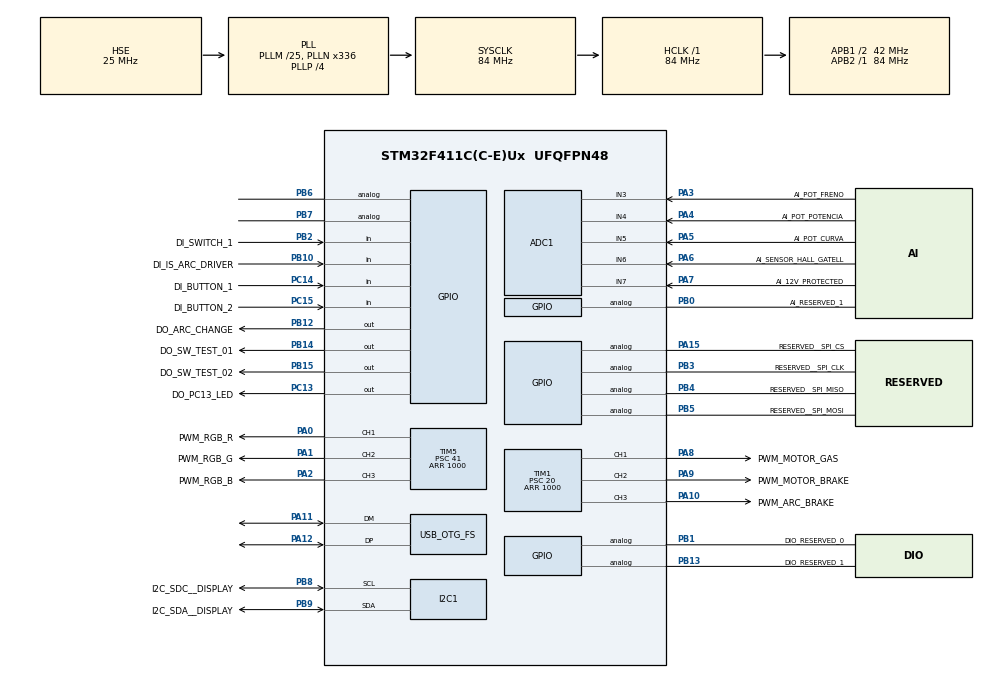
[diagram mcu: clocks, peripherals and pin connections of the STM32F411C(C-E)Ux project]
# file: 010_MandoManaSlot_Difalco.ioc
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ADC1.Channel-0\#ChannelRegularConversion=ADC_CHANNEL_6
ADC1.Channel-1\#ChannelRegularConversion=ADC_CHANNEL_3
ADC1.Channel-2\#ChannelRegularConversion=ADC_CHANNEL_4
ADC1.Channel-3\#ChannelRegularConversion=ADC_CHANNEL_5
ADC1.Channel-4\#ChannelRegularConversion=ADC_CHANNEL_7
ADC1.Channel-5\#ChannelRegularConversion=ADC_CHANNEL_VREFINT
ADC1.ClockPrescaler=ADC_CLOCK_SYNC_PCLK_DIV4
ADC1.ContinuousConvMode=DISABLE
ADC1.EOCSelection=ADC_EOC_SEQ_CONV
ADC1.NbrOfConversion=6
ADC1.NbrOfConversionFlag=1
ADC1.Rank-0\#ChannelRegularConversion=1
ADC1.Rank-1\#ChannelRegularConversion=2
ADC1.Rank-2\#ChannelRegularConversion=3
ADC1.Rank-3\#ChannelRegularConversion=4
ADC1.Rank-4\#ChannelRegularConversion=5
ADC1.Rank-5\#ChannelRegularConversion=6
ADC1.SamplingTime-0\#ChannelRegularConversion=ADC_SAMPLETIME_480CYCLES
ADC1.SamplingTime-1\#ChannelRegularConversion=ADC_SAMPLETIME_480CYCLES
ADC1.SamplingTime-2\#ChannelRegularConversion=ADC_SAMPLETIME_480CYCLES
ADC1.SamplingTime-3\#ChannelRegularConversion=ADC_SAMPLETIME_480CYCLES
ADC1.SamplingTime-4\#ChannelRegularConversion=ADC_SAMPLETIME_480CYCLES
ADC1.SamplingTime-5\#ChannelRegularConversion=ADC_SAMPLETIME_480CYCLES
ADC1.master=1
Dma.ADC1.0.Direction=DMA_PERIPH_TO_MEMORY
Dma.ADC1.0.FIFOMode=DMA_FIFOMODE_DISABLE
Dma.ADC1.0.Instance=DMA2_Stream0
Dma.ADC1.0.MemDataAlignment=DMA_MDATAALIGN_WORD
Dma.ADC1.0.MemInc=DMA_MINC_ENABLE
Dma.ADC1.0.Mode=DMA_CIRCULAR
Dma.ADC1.0.PeriphDataAlignment=DMA_PDATAALIGN_WORD
Dma.ADC1.0.PeriphInc=DMA_PINC_DISABLE
Dma.ADC1.0.Priority=DMA_PRIORITY_LOW
Dma.I2C1_RX.2.Direction=DMA_PERIPH_TO_MEMORY
Dma.I2C1_RX.2.FIFOMode=DMA_FIFOMODE_DISABLE
Dma.I2C1_RX.2.Instance=DMA1_Stream0
Dma.I2C1_RX.2.MemDataAlignment=DMA_MDATAALIGN_BYTE
Dma.I2C1_RX.2.MemInc=DMA_MINC_ENABLE
Dma.I2C1_RX.2.Mode=DMA_NORMAL
Dma.I2C1_RX.2.PeriphDataAlignment=DMA_PDATAALIGN_BYTE
Dma.I2C1_RX.2.PeriphInc=DMA_PINC_DISABLE
Dma.I2C1_RX.2.Priority=DMA_PRIORITY_LOW
Dma.I2C1_TX.1.Direction=DMA_MEMORY_TO_PERIPH
Dma.I2C1_TX.1.FIFOMode=DMA_FIFOMODE_DISABLE
Dma.I2C1_TX.1.Instance=DMA1_Stream7
Dma.I2C1_TX.1.MemDataAlignment=DMA_MDATAALIGN_BYTE
Dma.I2C1_TX.1.MemInc=DMA_MINC_ENABLE
Dma.I2C1_TX.1.Mode=DMA_NORMAL
Dma.I2C1_TX.1.PeriphDataAlignment=DMA_PDATAALIGN_BYTE
Dma.I2C1_TX.1.PeriphInc=DMA_PINC_DISABLE
Dma.I2C1_TX.1.Priority=DMA_PRIORITY_LOW
Dma.Request0=ADC1
Dma.Request1=I2C1_TX
Dma.Request2=I2C1_RX
FREERTOS.INCLUDE_eTaskGetState=1
FREERTOS.INCLUDE_uxTaskGetStackHighWaterMark=1
FREERTOS.INCLUDE_uxTaskGetStackHighWaterMark2=0
FREERTOS.INCLUDE_uxTaskPriorityGet=0
FREERTOS.INCLUDE_vTaskDelay=1
FREERTOS.INCLUDE_vTaskDelayUntil=1
FREERTOS.INCLUDE_vTaskDelete=0
FREERTOS.INCLUDE_vTaskPrioritySet=0
FREERTOS.INCLUDE_vTaskSuspend=0
FREERTOS.INCLUDE_xTaskGetCurrentTaskHandle=1
FREERTOS.INCLUDE_xTaskGetHandle=1
FREERTOS.INCLUDE_xTaskGetSchedulerState=1
FREERTOS.INCLUDE_xTimerPendFunctionCall=1
FREERTOS.Queues01=PotenciaParamF,1,float,0,Dynamic,NULL,NULL;CorbaParamF,1,float,0,Dynamic,NULL,NULL;FrenoAdc,1,uint16_t,0,Dynamic,NULL,NULL;PotenciaAdc,3,uint16_t,0,Dynamic,NULL,NULL;CorbaAdc,3,uint16_t,0,Dynamic,NULL,NULL;GatellAdc,1,uint16_t,0,Dynamic,NULL,NULL;PotenciaAdcFiltrat,1,uint16_t,0,Dynamic,NULL,NULL;CorbaAdcFiltrat,1,uint16_t,0,Dynamic,NULL,NULL;MapaFreno,1,uint32_t,0,Dynamic,NULL,NULL;PotenciaDin,1,uint32_t,0,Dynamic,NULL,NULL;MensajePantalla,1,uint32_t,0,Dynamic,NULL,NULL;PosFrenoFlash,1,uint32_t,0,Dynamic,NULL,NULL;ValorInicial1Flash,1,uint32_t,0,Dynamic,NULL,NULL;ValorFinal1Flash,1,uint32_t,0,Dynamic,NULL,NULL;PosFondoFlash,1,uint32_t,0,Dynamic,NULL,NULL;DiffGatellFlash,1,uint32_t,0,Dynamic,NULL,NULL;ExtraPWMFlash,1,uint32_t,0,Dynamic,NULL,NULL;MapaFrenoPantalla,1,uint32_t,0,Dynamic,NULL,NULL;PotenciaDinPantalla,1,uint32_t,0,Dynamic,NULL,NULL;ValorInicial2Flash,1,uint32_t,0,Dynamic,NULL,NULL;ValorFinal2Flash,1,uint32_t,0,Dynamic,NULL,NULL;ValorInicial1Pantalla,1,uint32_t,0,Dynamic,NULL,NULL;ValorFinal1Pantalla,1,uint32_t,0,Dynamic,NULL,NULL;ValorInicial2Pantalla,1,uint32_t,0,Dynamic,NULL,NULL;ValorFinal2Pantalla,1,uint32_t,0,Dynamic,NULL,NULL;PosFrenoMapa2Flash,1,uint32_t,0,Dynamic,NULL,NULL;VoltatgeAdc,1,uint32_t,0,Dynamic,NULL,NULL;VoltatgeAdcFiltrat,16,uint16_t,0,Dynamic,NULL,NULL
FREERTOS.Tasks01=MesurarAdc,-2,512,TaskMesurarAdc,Default,NULL,Dynamic,NULL,NULL;Pantalla,1,512,TaskPantalla,Default,NULL,Dynamic,NULL,NULL;Params,0,512,TaskParams,Default,NULL,Dynamic,NULL,NULL;FreeRtosMonitor,2,512,TaskFreeRtosMonitor,Default,NULL,Dynamic,NULL,NULL;Flash,0,512,TaskFlash,Default,NULL,Dynamic,NULL,NULL
FREERTOS.configCHECK_FOR_STACK_OVERFLOW=2
FREERTOS.configENABLE_FPU=1
FREERTOS.configGENERATE_RUN_TIME_STATS=1
FREERTOS.configMINIMAL_STACK_SIZE=512
FREERTOS.configTOTAL_HEAP_SIZE=15360
FREERTOS.configUSE_NEWLIB_REENTRANT=1
FREERTOS.configUSE_STATS_FORMATTING_FUNCTIONS=1
FREERTOS.configUSE_TIMERS=1
FREERTOS.configUSE_TRACE_FACILITY=1
I2C1.I2C_Mode=I2C_Fast
I2C1.NoStretchMode=I2C_NOSTRETCH_DISABLE
Mcu.Family=STM32F4
Mcu.Name=STM32F411C(C-E)Ux
Mcu.Package=UFQFPN48
NVIC.DMA1_Stream0_IRQn=true\:5\:0\:false\:false\:true\:true\:false\:true\:true
NVIC.DMA1_Stream7_IRQn=true\:5\:0\:false\:false\:true\:true\:false\:true\:true
NVIC.DMA2_Stream0_IRQn=true\:5\:0\:false\:false\:true\:true\:false\:true\:true
NVIC.I2C1_ER_IRQn=true\:5\:0\:false\:false\:true\:true\:true\:true\:true
NVIC.I2C1_EV_IRQn=true\:5\:0\:false\:false\:true\:true\:true\:true\:true
NVIC.OTG_FS_IRQn=true\:5\:0\:false\:false\:true\:true\:false\:true\:true
NVIC.PriorityGroup=NVIC_PRIORITYGROUP_4
PA0-WKUP.GPIO_Label=PWM_RGB_R
PA0-WKUP.GPIO_PuPd=GPIO_PULLDOWN
PA0-WKUP.Signal=S_TIM5_CH1
PA1.GPIO_Label=PWM_RGB_G
PA1.GPIO_PuPd=GPIO_PULLDOWN
PA1.Signal=S_TIM5_CH2
PA10.GPIO_Label=PWM_ARC_BRAKE
PA10.GPIO_PuPd=GPIO_PULLDOWN
PA10.Signal=S_TIM1_CH3
PA11.Mode=Device_Only
PA11.Signal=USB_OTG_FS_DM
PA12.Mode=Device_Only
PA12.Signal=USB_OTG_FS_DP
PA13.Mode=Serial_Wire
PA13.Signal=SYS_JTMS-SWDIO
PA14.Mode=Serial_Wire
PA14.Signal=SYS_JTCK-SWCLK
PA15.GPIO_Label=RESERVED__SPI_CS
PA15.Signal=GPIO_Analog
PA2.GPIO_Label=PWM_RGB_B
PA2.GPIO_PuPd=GPIO_PULLDOWN
PA2.Signal=S_TIM5_CH3
PA3.GPIO_Label=AI_POT_FRENO
PA3.Signal=ADCx_IN3
PA4.GPIO_Label=AI_POT_POTENCIA
PA4.Signal=ADCx_IN4
PA5.GPIO_Label=AI_POT_CURVA
PA5.Signal=ADCx_IN5
PA6.GPIO_Label=AI_SENSOR_HALL_GATELL
PA6.Signal=ADCx_IN6
PA7.GPIO_Label=AI_12V_PROTECTED
PA7.Signal=ADCx_IN7
PA8.GPIO_Label=PWM_MOTOR_GAS
PA8.GPIO_PuPd=GPIO_PULLDOWN
PA8.Signal=S_TIM1_CH1
PA9.GPIO_Label=PWM_MOTOR_BRAKE
PA9.GPIO_PuPd=GPIO_PULLDOWN
PA9.Signal=S_TIM1_CH2
PB0.GPIO_Label=AI_RESERVED_1
PB0.Signal=GPIO_Analog
PB1.GPIO_Label=DIO_RESERVED_0
PB1.Signal=GPIO_Analog
PB10.GPIO_Label=DI_IS_ARC_DRIVER
PB10.GPIO_PuPd=GPIO_PULLDOWN
PB10.Signal=GPIO_Input
PB12.GPIO_Label=DO_ARC_CHANGE
PB12.GPIO_PuPd=GPIO_PULLDOWN
PB12.Signal=GPIO_Output
PB13.GPIO_Label=DIO_RESERVED_1
PB13.Signal=GPIO_Analog
PB14.GPIO_Label=DO_SW_TEST_01
PB14.GPIO_PuPd=GPIO_PULLDOWN
PB14.Signal=GPIO_Output
PB15.GPIO_Label=DO_SW_TEST_02
PB15.GPIO_PuPd=GPIO_PULLDOWN
PB15.Signal=GPIO_Output
PB2.GPIO_Label=DI_SWITCH_1
PB2.GPIO_PuPd=GPIO_PULLUP
PB2.Signal=GPIO_Input
PB3.GPIO_Label=RESERVED__SPI_CLK
PB3.Signal=GPIO_Analog
PB4.GPIO_Label=RESERVED__SPI_MISO
PB4.Signal=GPIO_Analog
PB5.GPIO_Label=RESERVED__SPI_MOSI
PB5.Signal=GPIO_Analog
PB6.Signal=GPIO_Analog
PB7.Signal=GPIO_Analog
PB8.GPIO_Label=I2C_SDC__DISPLAY
PB8.Mode=I2C
PB8.Signal=I2C1_SCL
PB9.GPIO_Label=I2C_SDA__DISPLAY
PB9.Mode=I2C
PB9.Signal=I2C1_SDA
PC13-ANTI_TAMP.GPIO_Label=DO_PC13_LED
PC13-ANTI_TAMP.GPIO_PuPd=GPIO_PULLDOWN
PC13-ANTI_TAMP.Signal=GPIO_Output
PC14-OSC32_IN.GPIO_Label=DI_BUTTON_1
PC14-OSC32_IN.GPIO_PuPd=GPIO_PULLUP
PC14-OSC32_IN.Signal=GPIO_Input
PC15-OSC32_OUT.GPIO_Label=DI_BUTTON_2
PC15-OSC32_OUT.GPIO_PuPd=GPIO_PULLUP
PC15-OSC32_OUT.Signal=GPIO_Input
PH0\ -\ OSC_IN.Mode=HSE-External-Oscillator
PH0\ -\ OSC_IN.Signal=RCC_OSC_IN
PH1\ -\ OSC_OUT.Mode=HSE-External-Oscillator
PH1\ -\ OSC_OUT.Signal=RCC_OSC_OUT
ProjectManager.HeapSize=0x200
ProjectManager.StackSize=0x400
ProjectManager.TargetToolchain=STM32CubeIDE
RCC.48MHZClocksFreq_Value=48000000
RCC.AHBFreq_Value=84000000
RCC.APB1CLKDivider=RCC_HCLK_DIV2
RCC.APB1Freq_Value=42000000
RCC.APB1TimFreq_Value=84000000
RCC.APB2Freq_Value=84000000
RCC.APB2TimFreq_Value=84000000
RCC.CortexFreq_Value=84000000
RCC.EnbaleCSS=true
RCC.HCLKFreq_Value=84000000
RCC.HSE_Timout=250
RCC.HSE_VALUE=25000000
RCC.HSI_VALUE=16000000
RCC.LSE_VALUE=32768
RCC.PLLM=25
RCC.PLLN=336
RCC.PLLP=RCC_PLLP_DIV4
RCC.PLLQ=7
RCC.PWR_Regulator_Voltage_Scale=PWR_REGULATOR_VOLTAGE_SCALE1
RCC.SYSCLKFreq_VALUE=84000000
RCC.SYSCLKSource=RCC_SYSCLKSOURCE_PLLCLK
RCC.VCOOutputFreq_Value=336000000
SH.ADCx_IN3.0=ADC1_IN3,IN3
SH.ADCx_IN4.0=ADC1_IN4,IN4
SH.ADCx_IN5.0=ADC1_IN5,IN5
SH.ADCx_IN6.0=ADC1_IN6,IN6
SH.ADCx_IN7.0=ADC1_IN7,IN7
SH.S_TIM1_CH1.0=TIM1_CH1,PWM Generation1 CH1
SH.S_TIM1_CH2.0=TIM1_CH2,PWM Generation2 CH2
SH.S_TIM1_CH3.0=TIM1_CH3,PWM Generation3 CH3
SH.S_TIM5_CH1.0=TIM5_CH1,PWM Generation1 CH1
SH.S_TIM5_CH2.0=TIM5_CH2,PWM Generation2 CH2
SH.S_TIM5_CH3.0=TIM5_CH3,PWM Generation3 CH3
TIM1.AutoReloadPreload=TIM_AUTORELOAD_PRELOAD_ENABLE
TIM1.Channel-PWM\ Generation1\ CH1=TIM_CHANNEL_1
TIM1.Channel-PWM\ Generation2\ CH2=TIM_CHANNEL_2
TIM1.Channel-PWM\ Generation3\ CH3=TIM_CHANNEL_3
TIM1.Period=1000
TIM1.Prescaler=20
TIM1.TIM_MasterOutputTrigger=TIM_TRGO_RESET
TIM5.AutoReloadPreload=TIM_AUTORELOAD_PRELOAD_ENABLE
TIM5.Channel-PWM\ Generation1\ CH1=TIM_CHANNEL_1
TIM5.Channel-PWM\ Generation2\ CH2=TIM_CHANNEL_2
TIM5.Channel-PWM\ Generation3\ CH3=TIM_CHANNEL_3
TIM5.Period=1000
TIM5.Prescaler=41
TIM5.TIM_MasterOutputTrigger=TIM_TRGO_RESET
TIM5.TIM_MasterSlaveMode=TIM_MASTERSLAVEMODE_DISABLE
USB_DEVICE.APP_RX_DATA_SIZE=1024
USB_DEVICE.APP_TX_DATA_SIZE=1024
USB_DEVICE.CLASS_NAME_FS=CDC
USB_DEVICE.CONFIGURATION_STRING_CDC_FS=Mana Slot Config
USB_DEVICE.INTERFACE_STRING_CDC_FS=Mana Slot Interface
USB_DEVICE.MANUFACTURER_STRING=Mana Slot Electronics
USB_DEVICE.PRODUCT_STRING_CDC_FS=Mana Slot Mando
USB_DEVICE.VirtualMode=Cdc
USB_DEVICE.VirtualModeFS=Cdc_FS
USB_OTG_FS.VirtualMode=Device_Only
VP_ADC1_Vref_Input.Mode=IN-Vrefint
VP_FREERTOS_VS_CMSIS_V1.Mode=CMSIS_V1
VP_TIM1_VS_ClockSourceINT.Mode=Internal
VP_USB_DEVICE_VS_USB_DEVICE_CDC_FS.Mode=CDC_FS
board=custom

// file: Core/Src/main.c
/* USER CODE BEGIN Header */
/**
  ******************************************************************************
  * @file           : main.c
  * @brief          : Main program body
  ******************************************************************************
  * @attention
  *
  * Copyright (c) 2025 STMicroelectronics.
  * All rights reserved.
  *
  * This software is licensed under terms that can be found in the LICENSE file
  * in the root directory of this software component.
  * If no LICENSE file comes with this software, it is provided AS-IS.
  *
  ******************************************************************************
  */
/* USER CODE END Header */
#include "main.h"
#include "cmsis_os.h"
#include "usb_device.h"

/* USER CODE BEGIN Includes */
    #include "mcalm_api.h"
    #include "ecualm_api.h"
    #include "ver_api.h"
    //
    #include "TaskFreeRtosMonitor_api.h"
    #include "TaskParams_api.h"
    #include "TaskMesurarAdc_api.h"
    #include "TaskPantalla_api.h"
    #include "TaskFlash_api.h"
    #include "FLASH_SECTOR_F4.h"
    #include "rtwtypes.h"

/* USER CODE END Includes */

ADC_HandleTypeDef hadc1;
DMA_HandleTypeDef hdma_adc1;

I2C_HandleTypeDef hi2c1;
DMA_HandleTypeDef hdma_i2c1_tx;
DMA_HandleTypeDef hdma_i2c1_rx;

TIM_HandleTypeDef htim1;
TIM_HandleTypeDef htim5;

osThreadId MesurarAdcHandle;
osThreadId PantallaHandle;
osThreadId ParamsHandle;
osThreadId FreeRtosMonitorHandle;
osThreadId FlashHandle;
osMessageQId PotenciaParamFHandle;
osMessageQId CorbaParamFHandle;
osMessageQId FrenoAdcHandle;
osMessageQId PotenciaAdcHandle;
osMessageQId CorbaAdcHandle;
osMessageQId GatellAdcHandle;
osMessageQId PotenciaAdcFiltratHandle;
osMessageQId CorbaAdcFiltratHandle;
osMessageQId MapaFrenoHandle;
osMessageQId PotenciaDinHandle;
osMessageQId MensajePantallaHandle;
osMessageQId PosFrenoFlashHandle;
osMessageQId ValorInicial1FlashHandle;
osMessageQId ValorFinal1FlashHandle;
osMessageQId PosFondoFlashHandle;
osMessageQId DiffGatellFlashHandle;
osMessageQId ExtraPWMFlashHandle;
osMessageQId MapaFrenoPantallaHandle;
osMessageQId PotenciaDinPantallaHandle;
osMessageQId ValorInicial2FlashHandle;
osMessageQId ValorFinal2FlashHandle;
osMessageQId ValorInicial1PantallaHandle;
osMessageQId ValorFinal1PantallaHandle;
osMessageQId ValorInicial2PantallaHandle;
osMessageQId ValorFinal2PantallaHandle;
osMessageQId PosFrenoMapa2FlashHandle;
osMessageQId VoltatgeAdcHandle;
osMessageQId VoltatgeAdcFiltratHandle;

void SystemClock_Config(void);
static void MX_GPIO_Init(void);
static void MX_DMA_Init(void);
static void MX_ADC1_Init(void);
static void MX_I2C1_Init(void);
static void MX_TIM1_Init(void);
static void MX_TIM5_Init(void);
void TaskMesurarAdc(void const * argument);
void TaskPantalla(void const * argument);
void TaskParams(void const * argument);
void TaskFreeRtosMonitor(void const * argument);
void TaskFlash(void const * argument);

int main(void)
{

  /* MCU Configuration--------------------------------------------------------*/

  /* Reset of all peripherals, Initializes the Flash interface and the Systick. */
  HAL_Init();

  /* USER CODE BEGIN Init */
  // IMPORTANT: A small Delay must be used for the HSE Clock stabilization before the SystemClock_Config().
  //            Otherwise, the HSE won't be ok and the MCU will freeze in a Cold Start-Up. At IDE v1.19.0 ST changed the internal function order of SystemClock_Config and now the issue is easier to see.
  HAL_Delay( mcalm_DELAY_ms_BEFORE_START_HSE );
  /* USER CODE END Init */

  /* Configure the system clock */
  SystemClock_Config();

  /* USER CODE BEGIN SysInit */
  // 1.1) Start-up Level 1  (first Init of MCAL)
  MCALM_PeripheralsInit();
  /* USER CODE END SysInit */

  /* Initialize all configured peripherals */
  MX_GPIO_Init();
  MX_DMA_Init();
  MX_ADC1_Init();
  MX_I2C1_Init();
  MX_TIM1_Init();
  MX_TIM5_Init();
  /* USER CODE BEGIN 2 */

  // 1.2) Start-up Level 2  (first Init of ECUAL+VER)
  ECUALM_Init();
  VER_Init();

  // 1.3) Start-up Level 3  (first Init of APP)
  /* Inicialitzar Monitor Stack FreeRtos */
  TASKFREERTOSMONITOR_Init();
  /* Carregar valors de la flash */
  TASKFLASH_Init();
  /* Inicialitzar parametres per representar la corba */
  TASKPARAMS_Init();
  /* Inicialitzar la tasca de la pantalla */
  TASKPANTALLA_Init();
  /* Despres cargar-los al model */
  TASKMESURAR_Init();

  // 1.4) Start-up Level 4  (PostInit of MCAL+ECUAL)
  /*I2CM_PostInit(); */  // Done at TaskPantalla.c

  /* USER CODE END 2 */

  /* Create the queue(s) */
  /* definition and creation of PotenciaParamF */
  osMessageQDef(PotenciaParamF, 1, float);
  PotenciaParamFHandle = osMessageCreate(osMessageQ(PotenciaParamF), NULL);

  /* definition and creation of CorbaParamF */
  osMessageQDef(CorbaParamF, 1, float);
  CorbaParamFHandle = osMessageCreate(osMessageQ(CorbaParamF), NULL);

  /* definition and creation of FrenoAdc */
  osMessageQDef(FrenoAdc, 1, uint16_t);
  FrenoAdcHandle = osMessageCreate(osMessageQ(FrenoAdc), NULL);

  /* definition and creation of PotenciaAdc */
  osMessageQDef(PotenciaAdc, 3, uint16_t);
  PotenciaAdcHandle = osMessageCreate(osMessageQ(PotenciaAdc), NULL);

  /* definition and creation of CorbaAdc */
  osMessageQDef(CorbaAdc, 3, uint16_t);
  CorbaAdcHandle = osMessageCreate(osMessageQ(CorbaAdc), NULL);

  /* definition and creation of GatellAdc */
  osMessageQDef(GatellAdc, 1, uint16_t);
  GatellAdcHandle = osMessageCreate(osMessageQ(GatellAdc), NULL);

  /* definition and creation of PotenciaAdcFiltrat */
  osMessageQDef(PotenciaAdcFiltrat, 1, uint16_t);
  PotenciaAdcFiltratHandle = osMessageCreate(osMessageQ(PotenciaAdcFiltrat), NULL);

  /* definition and creation of CorbaAdcFiltrat */
  osMessageQDef(CorbaAdcFiltrat, 1, uint16_t);
  CorbaAdcFiltratHandle = osMessageCreate(osMessageQ(CorbaAdcFiltrat), NULL);

  /* definition and creation of MapaFreno */
  osMessageQDef(MapaFreno, 1, uint32_t);
  MapaFrenoHandle = osMessageCreate(osMessageQ(MapaFreno), NULL);

  /* definition and creation of PotenciaDin */
  osMessageQDef(PotenciaDin, 1, uint32_t);
  PotenciaDinHandle = osMessageCreate(osMessageQ(PotenciaDin), NULL);

  /* definition and creation of MensajePantalla */
  osMessageQDef(MensajePantalla, 1, uint32_t);
  MensajePantallaHandle = osMessageCreate(osMessageQ(MensajePantalla), NULL);

  /* definition and creation of PosFrenoFlash */
  osMessageQDef(PosFrenoFlash, 1, uint32_t);
  PosFrenoFlashHandle = osMessageCreate(osMessageQ(PosFrenoFlash), NULL);

  /* definition and creation of ValorInicial1Flash */
  osMessageQDef(ValorInicial1Flash, 1, uint32_t);
  ValorInicial1FlashHandle = osMessageCreate(osMessageQ(ValorInicial1Flash), NULL);

  /* definition and creation of ValorFinal1Flash */
  osMessageQDef(ValorFinal1Flash, 1, uint32_t);
  ValorFinal1FlashHandle = osMessageCreate(osMessageQ(ValorFinal1Flash), NULL);

  /* definition and creation of PosFondoFlash */
  osMessageQDef(PosFondoFlash, 1, uint32_t);
  PosFondoFlashHandle = osMessageCreate(osMessageQ(PosFondoFlash), NULL);

  /* definition and creation of DiffGatellFlash */
  osMessageQDef(DiffGatellFlash, 1, uint32_t);
  DiffGatellFlashHandle = osMessageCreate(osMessageQ(DiffGatellFlash), NULL);

  /* definition and creation of ExtraPWMFlash */
  osMessageQDef(ExtraPWMFlash, 1, uint32_t);
  ExtraPWMFlashHandle = osMessageCreate(osMessageQ(ExtraPWMFlash), NULL);

  /* definition and creation of MapaFrenoPantalla */
  osMessageQDef(MapaFrenoPantalla, 1, uint32_t);
  MapaFrenoPantallaHandle = osMessageCreate(osMessageQ(MapaFrenoPantalla), NULL);

  /* definition and creation of PotenciaDinPantalla */
  osMessageQDef(PotenciaDinPantalla, 1, uint32_t);
  PotenciaDinPantallaHandle = osMessageCreate(osMessageQ(PotenciaDinPantalla), NULL);

  /* definition and creation of ValorInicial2Flash */
  osMessageQDef(ValorInicial2Flash, 1, uint32_t);
  ValorInicial2FlashHandle = osMessageCreate(osMessageQ(ValorInicial2Flash), NULL);

  /* definition and creation of ValorFinal2Flash */
  osMessageQDef(ValorFinal2Flash, 1, uint32_t);
  ValorFinal2FlashHandle = osMessageCreate(osMessageQ(ValorFinal2Flash), NULL);

  /* definition and creation of ValorInicial1Pantalla */
  osMessageQDef(ValorInicial1Pantalla, 1, uint32_t);
  ValorInicial1PantallaHandle = osMessageCreate(osMessageQ(ValorInicial1Pantalla), NULL);

  /* definition and creation of ValorFinal1Pantalla */
  osMessageQDef(ValorFinal1Pantalla, 1, uint32_t);
  ValorFinal1PantallaHandle = osMessageCreate(osMessageQ(ValorFinal1Pantalla), NULL);

  /* definition and creation of ValorInicial2Pantalla */
  osMessageQDef(ValorInicial2Pantalla, 1, uint32_t);
  ValorInicial2PantallaHandle = osMessageCreate(osMessageQ(ValorInicial2Pantalla), NULL);

  /* definition and creation of ValorFinal2Pantalla */
  osMessageQDef(ValorFinal2Pantalla, 1, uint32_t);
  ValorFinal2PantallaHandle = osMessageCreate(osMessageQ(ValorFinal2Pantalla), NULL);

  /* definition and creation of PosFrenoMapa2Flash */
  osMessageQDef(PosFrenoMapa2Flash, 1, uint32_t);
  PosFrenoMapa2FlashHandle = osMessageCreate(osMessageQ(PosFrenoMapa2Flash), NULL);

  /* definition and creation of VoltatgeAdc */
  osMessageQDef(VoltatgeAdc, 1, uint32_t);
  VoltatgeAdcHandle = osMessageCreate(osMessageQ(VoltatgeAdc), NULL);

  /* definition and creation of VoltatgeAdcFiltrat */
  osMessageQDef(VoltatgeAdcFiltrat, 16, uint16_t);
  VoltatgeAdcFiltratHandle = osMessageCreate(osMessageQ(VoltatgeAdcFiltrat), NULL);

  /* Create the thread(s) */
  /* definition and creation of MesurarAdc */
  osThreadDef(MesurarAdc, TaskMesurarAdc, osPriorityLow, 0, 512);
  MesurarAdcHandle = osThreadCreate(osThread(MesurarAdc), NULL);

  /* definition and creation of Pantalla */
  osThreadDef(Pantalla, TaskPantalla, osPriorityAboveNormal, 0, 512);
  PantallaHandle = osThreadCreate(osThread(Pantalla), NULL);

  /* definition and creation of Params */
  osThreadDef(Params, TaskParams, osPriorityNormal, 0, 512);
  ParamsHandle = osThreadCreate(osThread(Params), NULL);

  /* definition and creation of FreeRtosMonitor */
  osThreadDef(FreeRtosMonitor, TaskFreeRtosMonitor, osPriorityHigh, 0, 512);
  FreeRtosMonitorHandle = osThreadCreate(osThread(FreeRtosMonitor), NULL);

  /* definition and creation of Flash */
  osThreadDef(Flash, TaskFlash, osPriorityNormal, 0, 512);
  FlashHandle = osThreadCreate(osThread(Flash), NULL);

  /* Start scheduler */
  osKernelStart();

  /* We should never get here as control is now taken by the scheduler */

  /* Infinite loop */
  while (1)
  {

  }
}

void SystemClock_Config(void)
{
  RCC_OscInitTypeDef RCC_OscInitStruct = {0};
  RCC_ClkInitTypeDef RCC_ClkInitStruct = {0};

  /** Configure the main internal regulator output voltage
  */
  __HAL_RCC_PWR_CLK_ENABLE();
  __HAL_PWR_VOLTAGESCALING_CONFIG(PWR_REGULATOR_VOLTAGE_SCALE1);

  /** Initializes the RCC Oscillators according to the specified parameters
  * in the RCC_OscInitTypeDef structure.
  */
  RCC_OscInitStruct.OscillatorType = RCC_OSCILLATORTYPE_HSE;
  RCC_OscInitStruct.HSEState = RCC_HSE_ON;
  RCC_OscInitStruct.PLL.PLLState = RCC_PLL_ON;
  RCC_OscInitStruct.PLL.PLLSource = RCC_PLLSOURCE_HSE;
  RCC_OscInitStruct.PLL.PLLM = 25;
  RCC_OscInitStruct.PLL.PLLN = 336;
  RCC_OscInitStruct.PLL.PLLP = RCC_PLLP_DIV4;
  RCC_OscInitStruct.PLL.PLLQ = 7;
  if (HAL_RCC_OscConfig(&RCC_OscInitStruct) != HAL_OK)
  {
    Error_Handler();
  }

  /** Initializes the CPU, AHB and APB buses clocks
  */
  RCC_ClkInitStruct.ClockType = RCC_CLOCKTYPE_HCLK|RCC_CLOCKTYPE_SYSCLK
                              |RCC_CLOCKTYPE_PCLK1|RCC_CLOCKTYPE_PCLK2;
  RCC_ClkInitStruct.SYSCLKSource = RCC_SYSCLKSOURCE_PLLCLK;
  RCC_ClkInitStruct.AHBCLKDivider = RCC_SYSCLK_DIV1;
  RCC_ClkInitStruct.APB1CLKDivider = RCC_HCLK_DIV2;
  RCC_ClkInitStruct.APB2CLKDivider = RCC_HCLK_DIV1;

  if (HAL_RCC_ClockConfig(&RCC_ClkInitStruct, FLASH_LATENCY_2) != HAL_OK)
  {
    Error_Handler();
  }

  /** Enables the Clock Security System
  */
  HAL_RCC_EnableCSS();
}

static void MX_ADC1_Init(void)
{

  ADC_ChannelConfTypeDef sConfig = {0};

  /** Configure the global features of the ADC (Clock, Resolution, Data Alignment and number of conversion)
  */
  hadc1.Instance = ADC1;
  hadc1.Init.ClockPrescaler = ADC_CLOCK_SYNC_PCLK_DIV4;
  hadc1.Init.Resolution = ADC_RESOLUTION_12B;
  hadc1.Init.ScanConvMode = ENABLE;
  hadc1.Init.ContinuousConvMode = DISABLE;
  hadc1.Init.DiscontinuousConvMode = DISABLE;
  hadc1.Init.ExternalTrigConvEdge = ADC_EXTERNALTRIGCONVEDGE_NONE;
  hadc1.Init.ExternalTrigConv = ADC_SOFTWARE_START;
  hadc1.Init.DataAlign = ADC_DATAALIGN_RIGHT;
  hadc1.Init.NbrOfConversion = 6;
  hadc1.Init.DMAContinuousRequests = DISABLE;
  hadc1.Init.EOCSelection = ADC_EOC_SEQ_CONV;
  if (HAL_ADC_Init(&hadc1) != HAL_OK)
  {
    Error_Handler();
  }

  /** Configure for the selected ADC regular channel its corresponding rank in the sequencer and its sample time.
  */
  sConfig.Channel = ADC_CHANNEL_6;
  sConfig.Rank = 1;
  sConfig.SamplingTime = ADC_SAMPLETIME_480CYCLES;
  if (HAL_ADC_ConfigChannel(&hadc1, &sConfig) != HAL_OK)
  {
    Error_Handler();
  }

  /** Configure for the selected ADC regular channel its corresponding rank in the sequencer and its sample time.
  */
  sConfig.Channel = ADC_CHANNEL_3;
  sConfig.Rank = 2;
  if (HAL_ADC_ConfigChannel(&hadc1, &sConfig) != HAL_OK)
  {
    Error_Handler();
  }

  /** Configure for the selected ADC regular channel its corresponding rank in the sequencer and its sample time.
  */
  sConfig.Channel = ADC_CHANNEL_4;
  sConfig.Rank = 3;
  if (HAL_ADC_ConfigChannel(&hadc1, &sConfig) != HAL_OK)
  {
    Error_Handler();
  }

  /** Configure for the selected ADC regular channel its corresponding rank in the sequencer and its sample time.
  */
  sConfig.Channel = ADC_CHANNEL_5;
  sConfig.Rank = 4;
  if (HAL_ADC_ConfigChannel(&hadc1, &sConfig) != HAL_OK)
  {
    Error_Handler();
  }

  /** Configure for the selected ADC regular channel its corresponding rank in the sequencer and its sample time.
  */
  sConfig.Channel = ADC_CHANNEL_7;
  sConfig.Rank = 5;
  if (HAL_ADC_ConfigChannel(&hadc1, &sConfig) != HAL_OK)
  {
    Error_Handler();
  }

  /** Configure for the selected ADC regular channel its corresponding rank in the sequencer and its sample time.
  */
  sConfig.Channel = ADC_CHANNEL_VREFINT;
  sConfig.Rank = 6;
  if (HAL_ADC_ConfigChannel(&hadc1, &sConfig) != HAL_OK)
  {
    Error_Handler();
  }

}

static void MX_I2C1_Init(void)
{

  hi2c1.Instance = I2C1;
  hi2c1.Init.ClockSpeed = 400000;
  hi2c1.Init.DutyCycle = I2C_DUTYCYCLE_2;
  hi2c1.Init.OwnAddress1 = 0;
  hi2c1.Init.AddressingMode = I2C_ADDRESSINGMODE_7BIT;
  hi2c1.Init.DualAddressMode = I2C_DUALADDRESS_DISABLE;
  hi2c1.Init.OwnAddress2 = 0;
  hi2c1.Init.GeneralCallMode = I2C_GENERALCALL_DISABLE;
  hi2c1.Init.NoStretchMode = I2C_NOSTRETCH_DISABLE;
  if (HAL_I2C_Init(&hi2c1) != HAL_OK)
  {
    Error_Handler();
  }

}

static void MX_TIM1_Init(void)
{

  TIM_ClockConfigTypeDef sClockSourceConfig = {0};
  TIM_MasterConfigTypeDef sMasterConfig = {0};
  TIM_OC_InitTypeDef sConfigOC = {0};
  TIM_BreakDeadTimeConfigTypeDef sBreakDeadTimeConfig = {0};

  htim1.Instance = TIM1;
  htim1.Init.Prescaler = 20;
  htim1.Init.CounterMode = TIM_COUNTERMODE_UP;
  htim1.Init.Period = 1000;
  htim1.Init.ClockDivision = TIM_CLOCKDIVISION_DIV1;
  htim1.Init.RepetitionCounter = 0;
  htim1.Init.AutoReloadPreload = TIM_AUTORELOAD_PRELOAD_ENABLE;
  if (HAL_TIM_Base_Init(&htim1) != HAL_OK)
  {
    Error_Handler();
  }
  sClockSourceConfig.ClockSource = TIM_CLOCKSOURCE_INTERNAL;
  if (HAL_TIM_ConfigClockSource(&htim1, &sClockSourceConfig) != HAL_OK)
  {
    Error_Handler();
  }
  if (HAL_TIM_PWM_Init(&htim1) != HAL_OK)
  {
    Error_Handler();
  }
  sMasterConfig.MasterOutputTrigger = TIM_TRGO_RESET;
  sMasterConfig.MasterSlaveMode = TIM_MASTERSLAVEMODE_DISABLE;
  if (HAL_TIMEx_MasterConfigSynchronization(&htim1, &sMasterConfig) != HAL_OK)
  {
    Error_Handler();
  }
  sConfigOC.OCMode = TIM_OCMODE_PWM1;
  sConfigOC.Pulse = 0;
  sConfigOC.OCPolarity = TIM_OCPOLARITY_HIGH;
  sConfigOC.OCNPolarity = TIM_OCNPOLARITY_HIGH;
  sConfigOC.OCFastMode = TIM_OCFAST_DISABLE;
  sConfigOC.OCIdleState = TIM_OCIDLESTATE_RESET;
  sConfigOC.OCNIdleState = TIM_OCNIDLESTATE_RESET;
  if (HAL_TIM_PWM_ConfigChannel(&htim1, &sConfigOC, TIM_CHANNEL_1) != HAL_OK)
  {
    Error_Handler();
  }
  if (HAL_TIM_PWM_ConfigChannel(&htim1, &sConfigOC, TIM_CHANNEL_2) != HAL_OK)
  {
    Error_Handler();
  }
  if (HAL_TIM_PWM_ConfigChannel(&htim1, &sConfigOC, TIM_CHANNEL_3) != HAL_OK)
  {
    Error_Handler();
  }
  sBreakDeadTimeConfig.OffStateRunMode = TIM_OSSR_DISABLE;
  sBreakDeadTimeConfig.OffStateIDLEMode = TIM_OSSI_DISABLE;
  sBreakDeadTimeConfig.LockLevel = TIM_LOCKLEVEL_OFF;
  sBreakDeadTimeConfig.DeadTime = 0;
  sBreakDeadTimeConfig.BreakState = TIM_BREAK_DISABLE;
  sBreakDeadTimeConfig.BreakPolarity = TIM_BREAKPOLARITY_HIGH;
  sBreakDeadTimeConfig.AutomaticOutput = TIM_AUTOMATICOUTPUT_DISABLE;
  if (HAL_TIMEx_ConfigBreakDeadTime(&htim1, &sBreakDeadTimeConfig) != HAL_OK)
  {
    Error_Handler();
  }
  HAL_TIM_MspPostInit(&htim1);

}

static void MX_TIM5_Init(void)
{

  TIM_MasterConfigTypeDef sMasterConfig = {0};
  TIM_OC_InitTypeDef sConfigOC = {0};

  htim5.Instance = TIM5;
  htim5.Init.Prescaler = 41;
  htim5.Init.CounterMode = TIM_COUNTERMODE_UP;
  htim5.Init.Period = 1000;
  htim5.Init.ClockDivision = TIM_CLOCKDIVISION_DIV1;
  htim5.Init.AutoReloadPreload = TIM_AUTORELOAD_PRELOAD_ENABLE;
  if (HAL_TIM_PWM_Init(&htim5) != HAL_OK)
  {
    Error_Handler();
  }
  sMasterConfig.MasterOutputTrigger = TIM_TRGO_RESET;
  sMasterConfig.MasterSlaveMode = TIM_MASTERSLAVEMODE_DISABLE;
  if (HAL_TIMEx_MasterConfigSynchronization(&htim5, &sMasterConfig) != HAL_OK)
  {
    Error_Handler();
  }
  sConfigOC.OCMode = TIM_OCMODE_PWM1;
  sConfigOC.Pulse = 0;
  sConfigOC.OCPolarity = TIM_OCPOLARITY_HIGH;
  sConfigOC.OCFastMode = TIM_OCFAST_DISABLE;
  if (HAL_TIM_PWM_ConfigChannel(&htim5, &sConfigOC, TIM_CHANNEL_1) != HAL_OK)
  {
    Error_Handler();
  }
  if (HAL_TIM_PWM_ConfigChannel(&htim5, &sConfigOC, TIM_CHANNEL_2) != HAL_OK)
  {
    Error_Handler();
  }
  if (HAL_TIM_PWM_ConfigChannel(&htim5, &sConfigOC, TIM_CHANNEL_3) != HAL_OK)
  {
    Error_Handler();
  }
  HAL_TIM_MspPostInit(&htim5);

}

static void MX_DMA_Init(void)
{

  /* DMA controller clock enable */
  __HAL_RCC_DMA2_CLK_ENABLE();
  __HAL_RCC_DMA1_CLK_ENABLE();

  /* DMA interrupt init */
  /* DMA1_Stream0_IRQn interrupt configuration */
  HAL_NVIC_SetPriority(DMA1_Stream0_IRQn, 5, 0);
  HAL_NVIC_EnableIRQ(DMA1_Stream0_IRQn);
  /* DMA1_Stream7_IRQn interrupt configuration */
  HAL_NVIC_SetPriority(DMA1_Stream7_IRQn, 5, 0);
  HAL_NVIC_EnableIRQ(DMA1_Stream7_IRQn);
  /* DMA2_Stream0_IRQn interrupt configuration */
  HAL_NVIC_SetPriority(DMA2_Stream0_IRQn, 5, 0);
  HAL_NVIC_EnableIRQ(DMA2_Stream0_IRQn);

}

static void MX_GPIO_Init(void)
{
  GPIO_InitTypeDef GPIO_InitStruct = {0};

  /* GPIO Ports Clock Enable */
  __HAL_RCC_GPIOC_CLK_ENABLE();
  __HAL_RCC_GPIOH_CLK_ENABLE();
  __HAL_RCC_GPIOA_CLK_ENABLE();
  __HAL_RCC_GPIOB_CLK_ENABLE();

  /*Configure GPIO pin Output Level */
  HAL_GPIO_WritePin(DO_PC13_LED_GPIO_Port, DO_PC13_LED_Pin, GPIO_PIN_RESET);

  /*Configure GPIO pin Output Level */
  HAL_GPIO_WritePin(GPIOB, DO_ARC_CHANGE_Pin|DO_SW_TEST_01_Pin|DO_SW_TEST_02_Pin, GPIO_PIN_RESET);

  /*Configure GPIO pin : DO_PC13_LED_Pin */
  GPIO_InitStruct.Pin = DO_PC13_LED_Pin;
  GPIO_InitStruct.Mode = GPIO_MODE_OUTPUT_PP;
  GPIO_InitStruct.Pull = GPIO_PULLDOWN;
  GPIO_InitStruct.Speed = GPIO_SPEED_FREQ_LOW;
  HAL_GPIO_Init(DO_PC13_LED_GPIO_Port, &GPIO_InitStruct);

  /*Configure GPIO pins : DI_BUTTON_1_Pin DI_BUTTON_2_Pin */
  GPIO_InitStruct.Pin = DI_BUTTON_1_Pin|DI_BUTTON_2_Pin;
  GPIO_InitStruct.Mode = GPIO_MODE_INPUT;
  GPIO_InitStruct.Pull = GPIO_PULLUP;
  HAL_GPIO_Init(GPIOC, &GPIO_InitStruct);

  /*Configure GPIO pins : AI_RESERVED_1_Pin DIO_RESERVED_0_Pin DIO_RESERVED_1_Pin RESERVED__SPI_CLK_Pin
                           RESERVED__SPI_MISO_Pin RESERVED__SPI_MOSI_Pin PB6 PB7 */
  GPIO_InitStruct.Pin = AI_RESERVED_1_Pin|DIO_RESERVED_0_Pin|DIO_RESERVED_1_Pin|RESERVED__SPI_CLK_Pin
                          |RESERVED__SPI_MISO_Pin|RESERVED__SPI_MOSI_Pin|GPIO_PIN_6|GPIO_PIN_7;
  GPIO_InitStruct.Mode = GPIO_MODE_ANALOG;
  GPIO_InitStruct.Pull = GPIO_NOPULL;
  HAL_GPIO_Init(GPIOB, &GPIO_InitStruct);

  /*Configure GPIO pin : DI_SWITCH_1_Pin */
  GPIO_InitStruct.Pin = DI_SWITCH_1_Pin;
  GPIO_InitStruct.Mode = GPIO_MODE_INPUT;
  GPIO_InitStruct.Pull = GPIO_PULLUP;
  HAL_GPIO_Init(DI_SWITCH_1_GPIO_Port, &GPIO_InitStruct);

  /*Configure GPIO pin : DI_IS_ARC_DRIVER_Pin */
  GPIO_InitStruct.Pin = DI_IS_ARC_DRIVER_Pin;
  GPIO_InitStruct.Mode = GPIO_MODE_INPUT;
  GPIO_InitStruct.Pull = GPIO_PULLDOWN;
  HAL_GPIO_Init(DI_IS_ARC_DRIVER_GPIO_Port, &GPIO_InitStruct);

  /*Configure GPIO pins : DO_ARC_CHANGE_Pin DO_SW_TEST_01_Pin DO_SW_TEST_02_Pin */
  GPIO_InitStruct.Pin = DO_ARC_CHANGE_Pin|DO_SW_TEST_01_Pin|DO_SW_TEST_02_Pin;
  GPIO_InitStruct.Mode = GPIO_MODE_OUTPUT_PP;
  GPIO_InitStruct.Pull = GPIO_PULLDOWN;
  GPIO_InitStruct.Speed = GPIO_SPEED_FREQ_LOW;
  HAL_GPIO_Init(GPIOB, &GPIO_InitStruct);

  /*Configure GPIO pin : RESERVED__SPI_CS_Pin */
  GPIO_InitStruct.Pin = RESERVED__SPI_CS_Pin;
  GPIO_InitStruct.Mode = GPIO_MODE_ANALOG;
  GPIO_InitStruct.Pull = GPIO_NOPULL;
  HAL_GPIO_Init(RESERVED__SPI_CS_GPIO_Port, &GPIO_InitStruct);

}

void TaskMesurarAdc(void const * argument)
{
  /* init code for USB_DEVICE */
  MX_USB_DEVICE_Init();
  /* USER CODE BEGIN 5 */
    TASKMESURAR_MainTask();
  /* USER CODE END 5 */
}

void TaskPantalla(void const * argument)
{
  /* USER CODE BEGIN TaskPantalla */
    TASKPANTALLA_MainTask();
  /* USER CODE END TaskPantalla */
}

void TaskParams(void const * argument)
{
  /* USER CODE BEGIN TaskParams */
    TASKPARAMS_MainTask();
  /* USER CODE END TaskParams */
}

void TaskFreeRtosMonitor(void const * argument)
{
  /* USER CODE BEGIN TaskFreeRtosMonitor */
    TASKFREERTOSMONITOR_MainTask();
  /* USER CODE END TaskFreeRtosMonitor */
}

void TaskFlash(void const * argument)
{
  /* USER CODE BEGIN TaskFlash */
    TASKFLASH_MainTask();
  /* USER CODE END TaskFlash */
}

void Error_Handler(void)
{
  __disable_irq();
  while (1)
  {
  }
}

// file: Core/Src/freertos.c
/* USER CODE BEGIN Header */
/**
  ******************************************************************************
  * File Name          : freertos.c
  * Description        : Code for freertos applications
  ******************************************************************************
  * @attention
  *
  * Copyright (c) 2025 STMicroelectronics.
  * All rights reserved.
  *
  * This software is licensed under terms that can be found in the LICENSE file
  * in the root directory of this software component.
  * If no LICENSE file comes with this software, it is provided AS-IS.
  *
  ******************************************************************************
  */
/* USER CODE END Header */

#include "FreeRTOS.h"
#include "task.h"
#include "main.h"

/* GetIdleTaskMemory prototype (linked to static allocation support) */
void vApplicationGetIdleTaskMemory( StaticTask_t **ppxIdleTaskTCBBuffer, StackType_t **ppxIdleTaskStackBuffer, uint32_t *pulIdleTaskStackSize );

/* GetTimerTaskMemory prototype (linked to static allocation support) */
void vApplicationGetTimerTaskMemory( StaticTask_t **ppxTimerTaskTCBBuffer, StackType_t **ppxTimerTaskStackBuffer, uint32_t *pulTimerTaskStackSize );

/* Hook prototypes */
void configureTimerForRunTimeStats(void);
unsigned long getRunTimeCounterValue(void);
void vApplicationStackOverflowHook(xTaskHandle xTask, signed char *pcTaskName);

/* USER CODE BEGIN 1 */
/* Functions needed when configGENERATE_RUN_TIME_STATS is on */
__weak void configureTimerForRunTimeStats(void)
{

}

__weak unsigned long getRunTimeCounterValue(void)
{
return 0;
}
/* USER CODE END 1 */

/* USER CODE BEGIN 4 */
__weak void vApplicationStackOverflowHook(xTaskHandle xTask, signed char *pcTaskName)
{
   /* Run time stack overflow checking is performed if
   configCHECK_FOR_STACK_OVERFLOW is defined to 1 or 2. This hook function is
   called if a stack overflow is detected. */
}
/* USER CODE END 4 */

/* USER CODE BEGIN GET_IDLE_TASK_MEMORY */
static StaticTask_t xIdleTaskTCBBuffer;
static StackType_t xIdleStack[configMINIMAL_STACK_SIZE];

void vApplicationGetIdleTaskMemory( StaticTask_t **ppxIdleTaskTCBBuffer, StackType_t **ppxIdleTaskStackBuffer, uint32_t *pulIdleTaskStackSize )
{
  *ppxIdleTaskTCBBuffer = &xIdleTaskTCBBuffer;
  *ppxIdleTaskStackBuffer = &xIdleStack[0];
  *pulIdleTaskStackSize = configMINIMAL_STACK_SIZE;
  /* place for user code */
}
/* USER CODE END GET_IDLE_TASK_MEMORY */

/* USER CODE BEGIN GET_TIMER_TASK_MEMORY */
static StaticTask_t xTimerTaskTCBBuffer;
static StackType_t xTimerStack[configTIMER_TASK_STACK_DEPTH];

void vApplicationGetTimerTaskMemory( StaticTask_t **ppxTimerTaskTCBBuffer, StackType_t **ppxTimerTaskStackBuffer, uint32_t *pulTimerTaskStackSize )
{
  *ppxTimerTaskTCBBuffer = &xTimerTaskTCBBuffer;
  *ppxTimerTaskStackBuffer = &xTimerStack[0];
  *pulTimerTaskStackSize = configTIMER_TASK_STACK_DEPTH;
  /* place for user code */
}
/* USER CODE END GET_TIMER_TASK_MEMORY */
